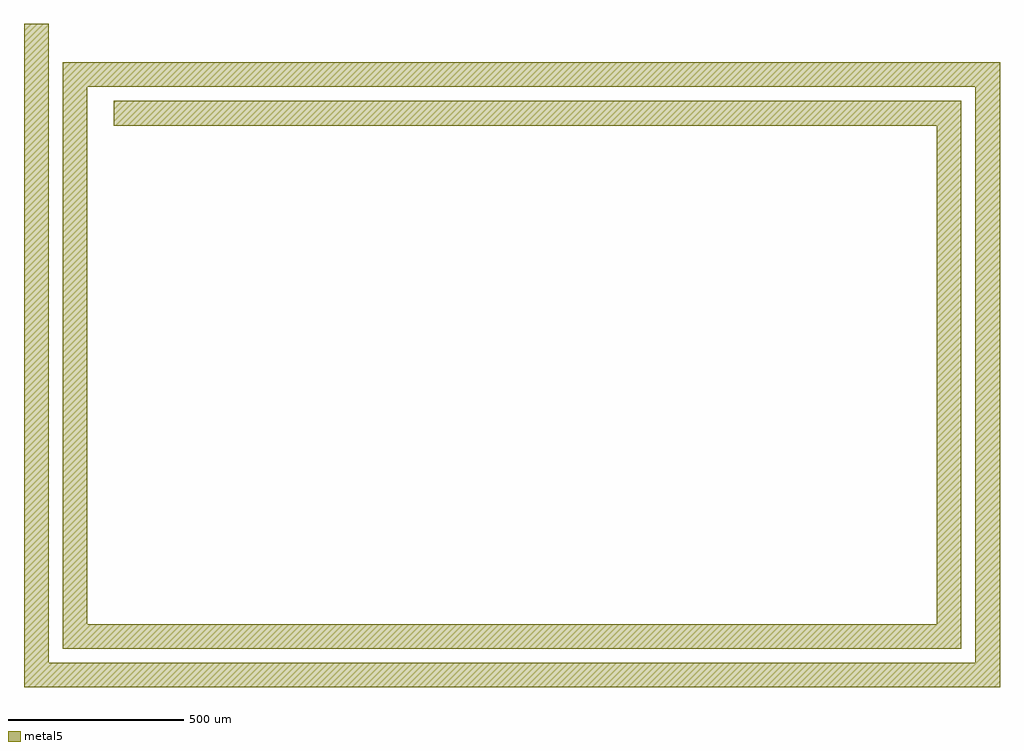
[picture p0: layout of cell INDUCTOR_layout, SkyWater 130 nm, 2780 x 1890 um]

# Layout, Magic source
magic
tech sky130A
<< metal5 >>
rect 394000 1449000 401000 1631000
rect 405000 1613000 672000 1620000
rect 405000 1460000 412000 1613000
rect 419500 1602000 661000 1609000
rect 654000 1460000 661000 1602000
rect 405000 1453000 661000 1460000
rect 665000 1449000 672000 1613000
rect 394000 1442000 672000 1449000
<< end >>
